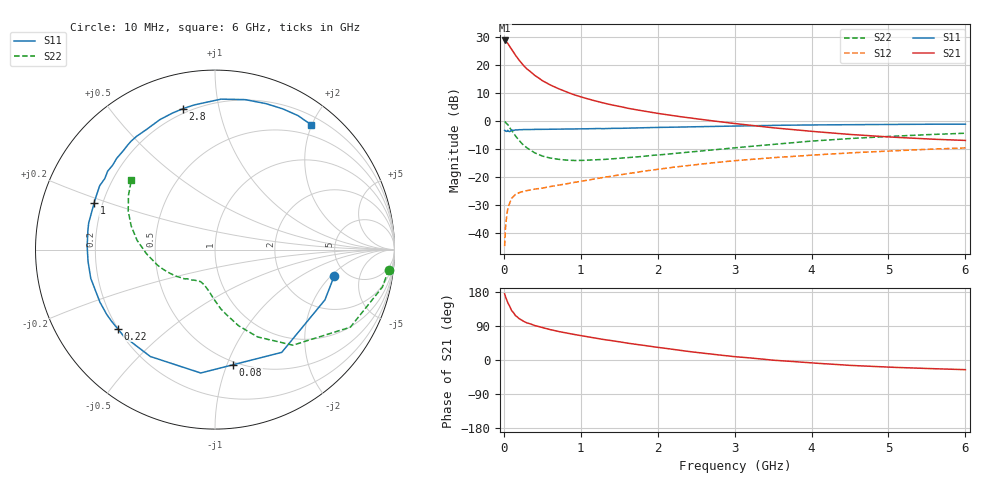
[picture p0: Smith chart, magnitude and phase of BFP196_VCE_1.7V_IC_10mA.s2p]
! Infineon Technologies  Discrete & RF Semiconductors
! BFP196
! VCE = 1.7 V,  IC =  10mA
! Common Emitter S-Parameters:  Jan 2016
# GHz  S  MA  R  50
!  f  S11  S21  S12  S22
! GHz  MAG  ANG  MAG  ANG  MAG  ANG  MAG  ANG
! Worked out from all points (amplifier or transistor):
!   210 points, 10 MHz to 6 GHz, reference 50 ohm
!   highest |S21| = 28.9 dB at 10 MHz (marker M1)
!   |S21| within 3 dB of that: start of sweep to 97.63 MHz
!   unconditionally stable (mu >= 1): 859.4 MHz to 3.449 GHz
!   at 185 MHz: K = 0.31, MSG = 24.1 dB, |S12| = -25.9 dB
!   at 1.52 GHz: K = 1.16, MAG = 9.8 dB, |S12| = -19.2 dB
!   at 6 GHz: K = 0.99, MSG = 1.3 dB, |S12| = -9.6 dB
!   S11 on the Smith chart (normalised r, x): 10 MHz: 3.96, -2.20; 80 MHz: 0.47, -1.05; 220 MHz: 0.20, -0.34; 1 GHz: 0.17, +0.18; 2.8 GHz: 0.17, +0.78; 6 GHz: 0.33, +1.99
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0.01  0.6799 -12.7  27.87 174.7  0.0057 84.1  0.9741 -6.6
0.02  0.6735 -24.6  27.22 167.4  0.0114 76.9  0.956 -12.6
0.05  0.6827 -57.0  24.86 151.2  0.0261 65.4  0.8693 -29.8
0.08  0.6494 -81.1  21.34 140.2  0.0348 54.0  0.7473 -41.2
0.1  0.6921 -96.6  19.55 130.9  0.0411 49.2  0.6871 -50.8
0.15  0.6962 -121.2  15.21 117.4  0.0481 39.8  0.5415 -64.0
0.2  0.7007 -136.4  12.29 108.9  0.0519 35.2  0.444 -72.8
0.22  0.6988 -140.9  11.39 106.7  0.053 34.2  0.4159 -75.1
0.26  0.7032 -149.2  9.794 101.8  0.0552 32.5  0.3662 -80.2
0.3  0.7048 -155.4  8.604 98.0  0.0566 31.8  0.3309 -84.5
0.4  0.7105 -167.0  6.615 91.0  0.0601 31.8  0.2697 -92.2
0.5  0.7104 -174.7  5.309 85.4  0.0627 33.1  0.2357 -97.9
0.7  0.7155 172.6  3.856 75.6  0.0704 36.2  0.2064 -106.5
1  0.7223 158.8  2.713 64.3  0.083 40.1  0.1965 -115.9
1.02  0.7231 158.0  2.665 63.6  0.0839 40.3  0.197 -116.4
1.4  0.7407 143.9  1.95 51.2  0.1024 42.7  0.2098 -125.7
2.02  0.7675 124.2  1.36 32.9  0.1374 42.2  0.2471 -141.0
2.8  0.8056 102.8  0.975 13.2  0.1828 36.7  0.3128 -160.1
3.1  0.8171 96.0  0.872 7.2  0.1994 33.4  0.3409 -167.5
4.1  0.8529 77.0  0.638 -9.0  0.2492 22.8  0.4456 171.3
5.1  0.8711 63.1  0.51 -19.6  0.2939 11.5  0.5365 154.3
6  0.8779 52.4  0.449 -25.5  0.3296 0.9  0.6051 140.4
